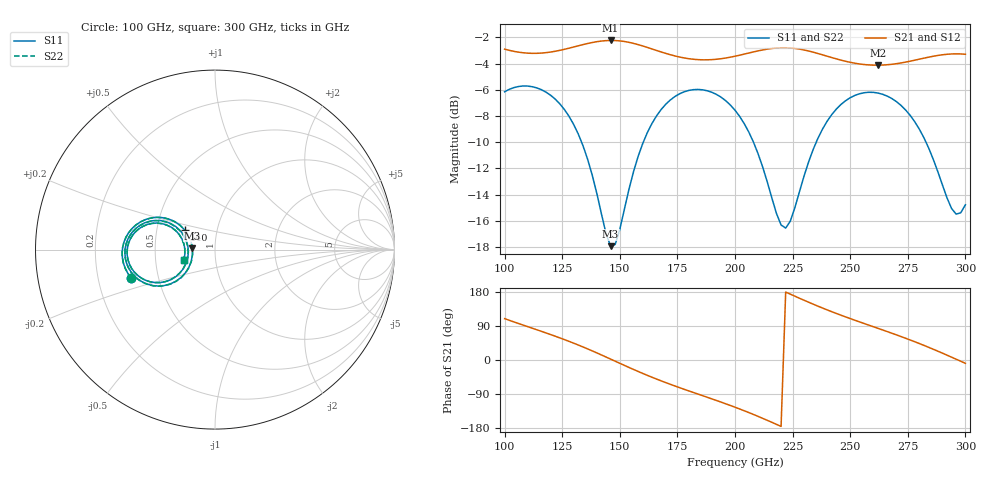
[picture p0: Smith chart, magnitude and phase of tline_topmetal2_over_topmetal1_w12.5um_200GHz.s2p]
#  GHZ S DB R 50
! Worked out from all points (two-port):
!   101 points, 100 GHz to 300 GHz, reference 50 ohm
!   highest |S21| = -2.24 dB at 146 GHz (marker M1); lowest = -4.1 dB at 262 GHz (marker M2)
!   |S21| within 3 dB of the highest: start of sweep to end of sweep
!   lowest |S11| = -17.9 dB at 146 GHz (marker M3), VSWR 1.29, Z = 38.8 + j0.754 ohm
!   |S11| at or under -10 dB: 133.4 GHz to 160.2 GHz (26.8 GHz wide, 18.3 % of centre); 208 GHz to 235.3 GHz (27.27 GHz wide, 12.3 % of centre); 282.9 GHz to end of sweep
!   |S22| runs from -18.0 to -5.7 dB; largest |S21 - S12| = 8.8e-14
!   S11 on the Smith chart (normalised r, x): 100 GHz: 0.35, -0.15; 140 GHz: 0.70, +0.16; 300 GHz: 0.70, -0.08
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100  -6.16 -161.1  -2.90 109.2  -2.90 109.2  -6.16 -161.2
108  -5.72 -174.7  -3.18 92.2  -3.18 92.2  -5.71 -174.7
116  -6.00 172.2  -3.20 75.6  -3.20 75.6  -6.00 172.2
126  -7.52 156.5  -2.91 53.7  -2.91 53.7  -7.52 156.4
134  -10.26 146.5  -2.56 34.5  -2.56 34.5  -10.27 146.4
140  -13.90 147.0  -2.33 18.8  -2.33 18.8  -13.92 146.9
146  -17.94 175.7  -2.24 2.4  -2.24 2.4  -18.00 175.7
148  -17.81 -167.6  -2.25 -3.2  -2.25 -3.2  -17.87 -167.4
156  -12.23 -140.6  -2.46 -25.1  -2.46 -25.1  -12.24 -140.3
168  -7.50 -152.7  -3.12 -55.1  -3.12 -55.1  -7.50 -152.5
184  -5.98 -177.4  -3.70 -90.1  -3.70 -90.1  -5.98 -177.2
200  -7.56 159.1  -3.44 -124.6  -3.44 -124.6  -7.55 159.4
212  -11.89 149.6  -2.96 -153.9  -2.96 -153.9  -11.86 150.0
218  -15.45 161.8  -2.82 -169.8  -2.82 -169.8  -15.37 162.2
222  -16.56 -175.4  -2.80 179.3  -2.80 179.3  -16.46 -175.3
234  -10.53 -145.8  -3.14 147.2  -3.14 147.2  -10.50 -145.9
246  -7.12 -158.9  -3.74 118.2  -3.74 118.2  -7.12 -159.0
262  -6.25 178.1  -4.13 83.7  -4.13 83.7  -6.24 178.2
268  -6.66 169.7  -4.06 70.8  -4.06 70.8  -6.66 169.8
284  -10.43 152.9  -3.52 33.6  -3.52 33.6  -10.42 153.1
294  -15.07 169.3  -3.27 7.5  -3.27 7.5  -15.04 169.5
300  -14.78 -162.3  -3.29 -8.7  -3.29 -8.7  -14.76 -162.2
